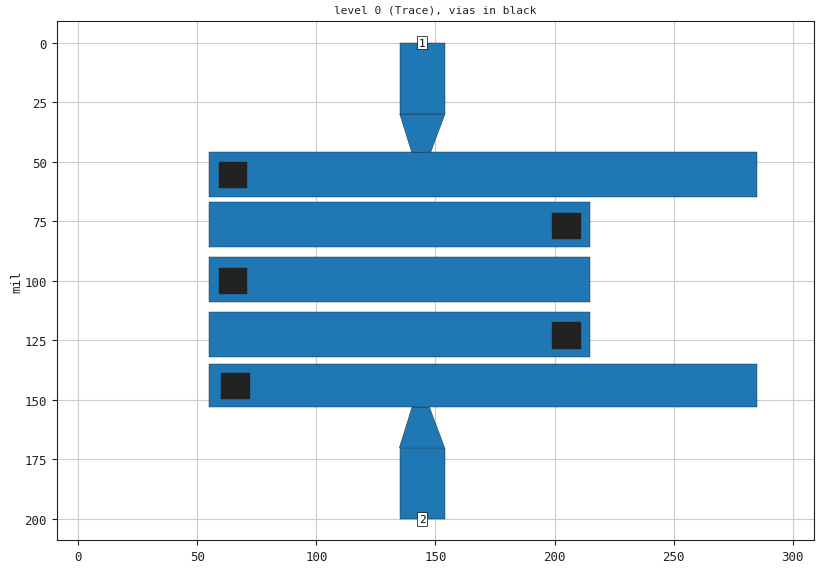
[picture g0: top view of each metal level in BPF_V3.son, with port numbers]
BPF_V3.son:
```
FTYP SONPROJ 19 ! Sonnet Project File
VER 18.58
HEADER
LIC carleton6.2.98695
DAT 01/21/2025 19:49:30
BUILT_BY_CREATED xgeom 18.56 11/26/2024 14:09:30
BUILT_BY_SAVED sonnet 18.58
MDATE 01/21/2025 19:49:30
HDATE 01/21/2025 19:49:30
END HEADER
DIM
ANG DEG
CAP PF
CON /OH
FREQ GHZ
IND NH
LNG MIL
RES OH
END DIM
CONTROL
VARSWP
OPTIONS  -d
SPEED 2
CACHE_ABS 2
Q_ACC N
END CONTROL
GEO
TMET "Lossless" 0 SUP 0 0 0 0
BMET "Lossless" 0 SUP 0 0 0 0
MET "Copper" 1 NOR 58000000 0 2 
BOX 1 300 200 600 400 20 0
      200 1 1 0 0 0 0 "Air"
      20 9.9 1 0.0001 0 0 0 "Alumina (99.5%)"
TECHLAY METAL Trace <UNSPECIFIED> -2 -65534 
0 0 0 N 437 1 1 100 100 0 0 0 Y
END
END
VALVAR t LNG 10 "Dim. Param."
VALVAR t2_1 NONE 30 ""
VALVAR D LNG 20 "Dim. Param."
VALVAR t1 LNG 40 "Dim. Param."
VALVAR t2 LNG 30 "Dim. Param."
VALVAR x4 LNG 100 "Dim. Param."
VALVAR x4_3 NONE 100 ""
VALVAR x1 LNG 30 "Dim. Param. x1"
VALVAR x2 LNG 40 "Dim. Param. x2"
VALVAR length LNG 230 "Dim. Param."
VALVAR height LNG 35 "Dim. Param."
VALVAR width LNG 19 "Dim. Param."
VALVAR length3 LNG 99 "Dim. Param."
VALVAR length2 LNG 160 "Dim. Param."
VALVAR sep LNG 80 "Dim. Param."
LORGN 0 200 U 
POR1 BOX
POLY 409 1
0
2 50 0 0 0 144.5 200 
POR1 BOX
POLY 411 1
0
1 50 0 0 0 144.5 0 
NUM 14
0 5 0 N 399 1 1 100 100 0 0 0 Y
TLAYNAM Trace INH
55 65
285 65
285 46
55 46
55 65
END
0 5 0 N 400 1 1 100 100 0 0 0 Y
TLAYNAM Trace INH
134.84375 170
140.15625 153
147.46875 153
153.84375 170
134.84375 170
END
0 5 0 N 402 1 1 100 100 0 0 0 Y
TLAYNAM Trace INH
55 109
215 109
215 90
55 90
55 109
END
0 5 0 N 403 1 1 100 100 0 0 0 Y
TLAYNAM Trace INH
55 132
215 132
215 113
55 113
55 132
END
0 5 0 N 404 1 1 100 100 0 0 0 Y
TLAYNAM Trace INH
55 153
285 153
285 135
55 135
55 153
END
0 5 0 N 407 1 1 100 100 0 0 0 Y
TLAYNAM Trace INH
135 30
140 46
148 46
154 30
135 30
END
0 5 0 N 409 1 1 100 100 0 0 0 Y
TLAYNAM Trace INH
135 200
154 200
154 170
135 170
135 200
END
0 5 0 N 410 1 1 100 100 0 0 0 Y
TLAYNAM Trace INH
55 86
215 86
215 67
55 67
55 86
END
0 5 0 N 411 1 1 100 100 0 0 0 Y
TLAYNAM Trace INH
135 0
154 0
154 30
135 30
135 0
END
VIA POLYGON
0 5 -1 N 423 1 1 100 100 0 0 0 Y
TOLEVEL 1 RING NOCOVERS
59 50
71 50
71 61
59 61
59 50
END
VIA POLYGON
0 5 -1 N 424 1 1 100 100 0 0 0 Y
TOLEVEL 1 RING NOCOVERS
59 94.5
71 94.5
71 105.5
59 105.5
59 94.5
END
VIA POLYGON
0 5 -1 N 425 1 1 100 100 0 0 0 Y
TOLEVEL 1 RING NOCOVERS
60 138.5
72 138.5
72 149.5
60 149.5
60 138.5
END
VIA POLYGON
0 5 -1 N 426 1 1 100 100 0 0 0 Y
TOLEVEL 1 RING NOCOVERS
199 71.5
211 71.5
211 82.5
199 82.5
199 71.5
END
VIA POLYGON
0 5 -1 N 427 1 1 100 100 0 0 0 Y
TOLEVEL 1 RING NOCOVERS
199 117.5
211 117.5
211 128.5
199 128.5
199 117.5
END
END GEO
OPT
MAX 100
END OPT
VARSWP
SWPVARS ON
ENABLED Y
FREQ Y AY ABS_ENTRY 1.0 20.0 -1 300 
VAR length Y 170.0 224.0 6.0
VAR height Y 20.0 38.0 2.0
VAR length2 Y 120.0 156.0 4.0
VAR sep Y 20.0 74.0 6.0
END
END VARSWP
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```
